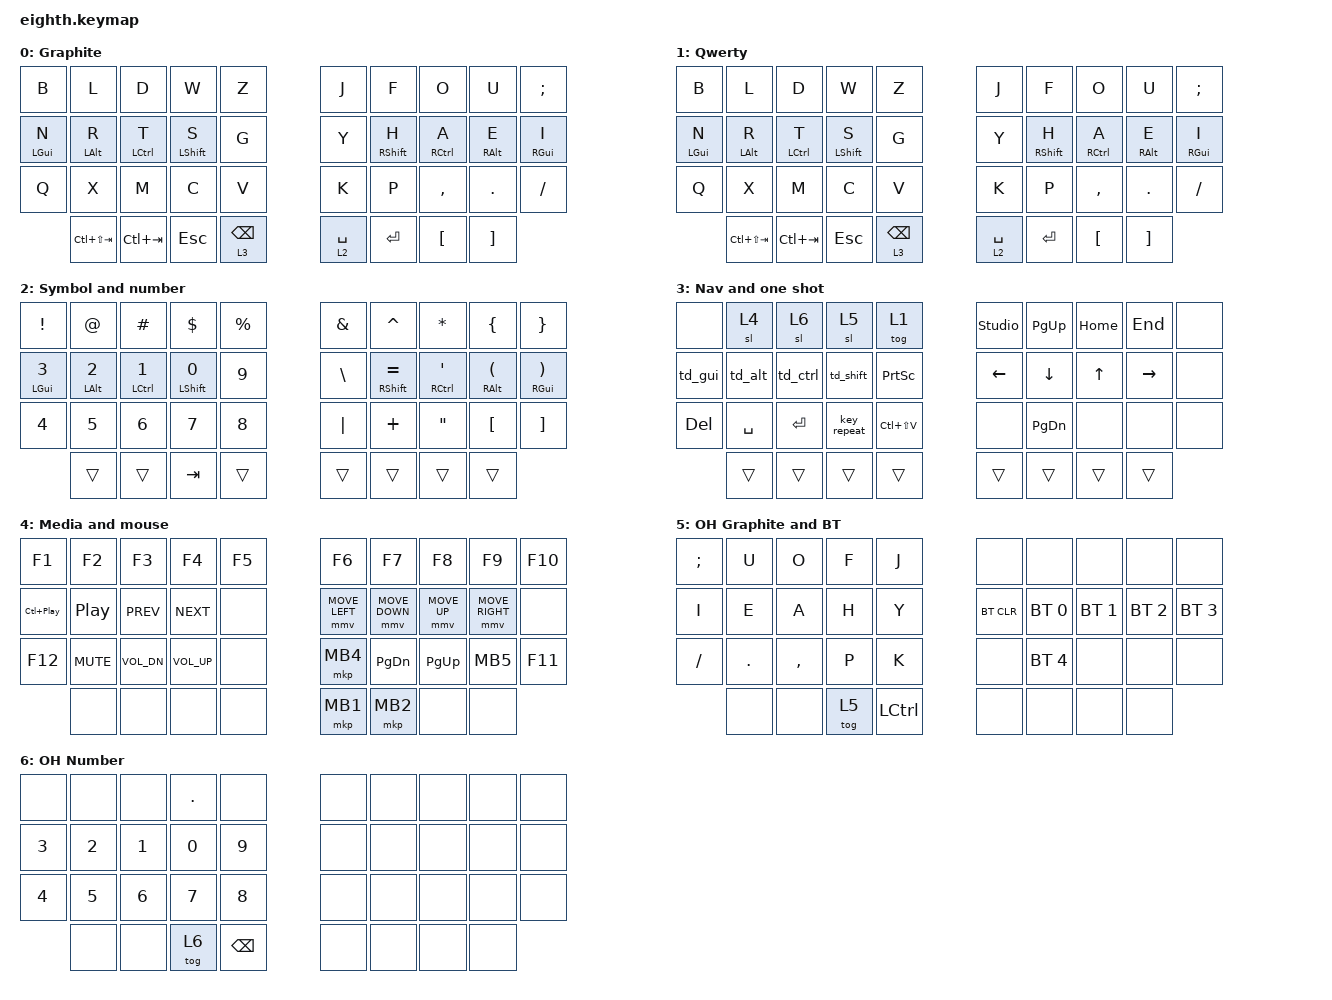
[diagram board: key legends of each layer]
#include <behaviors.dtsi>
#include <dt-bindings/zmk/keys.h>
#include <dt-bindings/zmk/bt.h>

// https://zmk.dev/docs/keymaps/behaviors/mouse-emulation
#define ZMK_POINTING_DEFAULT_MOVE_VAL 2400 //d 1200
#include <dt-bindings/zmk/pointing.h>

/ {
    macros {
        l_ram: l_ram {
            compatible = "zmk,behavior-macro";
            #binding-cells = <0>;
            bindings = <&macro_press &kp LALT>, <&macro_press &kp PSCRN>, <&macro_tap &kp F>, <&macro_release &kp PSCRN>, <&macro_release &kp PSCRN>;
        };
    };

    // 0  1  2  3  4       5  6  7  8  9
    // 10 11 12 13 14      15 16 17 18 19
    // 20 21 22 23 24      25 26 27 28 29
    //          30 31      32 33
    //    30 31 32 33      34 35 36 37
    combos {
        compatible = "zmk,combos";

        grave {
            timeout-ms = <50>;
            key-positions = <1 2>;
            bindings = <&kp GRAVE>;
            layers = <0>;
        };

        tilde {
            timeout-ms = <50>;
            key-positions = <21 22>;
            bindings = <&kp TILDE>;
            layers = <0>;
        };

        minus {
            timeout-ms = <50>;
            key-positions = <7 8>;
            bindings = <&kp MINUS>;
            layers = <0>;
        };

        under {
            timeout-ms = <50>;
            key-positions = <27 28>;
            bindings = <&kp UNDER>;
            layers = <0>;
        };

        caps_word {
            timeout-ms = <50>;
            key-positions = <13 16>;
            bindings = <&caps_word>;
            layers = <0>;
        };

        caps_lock {
            timeout-ms = <50>;
            key-positions = <3 6>;
            bindings = <&kp CAPS>;
            layers = <0>;
        };

        studio_unlock {
            timeout-ms = <50>;
            key-positions = <0 1>;
            bindings = <&studio_unlock>;
            layers = <4>;
        };

        l_ram {
            timeout-ms = <50>;
            key-positions = <7 8>;
            bindings = <&l_ram>;
            layers = <4>;
        };

        l4 {
            timeout-ms = <50>;
            key-positions = <33 34>;
            bindings = <&mo 4>;
            layers = <0>;
            slow-release;
        };
    };

    behaviors {
        hml: home_row_mod_left {
            compatible = "zmk,behavior-hold-tap";
            #binding-cells = <2>;
            flavor = "balanced";
            tapping-term-ms = <250>;
            quick-tap-ms = <175>;
            require-prior-idle-ms = <150>;
            bindings = <&kp>, <&kp>;
            hold-trigger-key-positions = <
                // right keys
                5  6  7  8  9
                15 16 17 18 19
                25 26 27 28 29
                34 35 36 37
            >;
            hold-trigger-on-release;
        };
        hmr: home_row_mod_right {
            compatible = "zmk,behavior-hold-tap";
            #binding-cells = <2>;
            flavor = "balanced";
            tapping-term-ms = <200>;
            quick-tap-ms = <175>;
            require-prior-idle-ms = <150>;
            bindings = <&kp>, <&kp>;
            hold-trigger-key-positions = <
                // left keys
                0  1  2  3  4
                10 11 12 13 14
                20 21 22 23 24
                30 31 32 33
            >;
            hold-trigger-on-release;
        };

        mt: mod_tap {
            compatible = "zmk,behavior-hold-tap";
            #binding-cells = <2>;
            flavor = "tap-preferred";
            tapping-term-ms = <200>;
            quick-tap-ms = <200>;
            bindings = <&kp>, <&kp>;
            display-name = "Mod-Tap";
        };
        lt: layer_tap {
            compatible = "zmk,behavior-hold-tap";
            #binding-cells = <2>;
            flavor = "tap-preferred";
            tapping-term-ms = <200>;
            quick-tap-ms = <250>;
            bindings = <&mo>, <&kp>;
            display-name = "Layer-Tap";
        };

        td_shift: tap_dance_shift {
            compatible = "zmk,behavior-tap-dance";
            #binding-cells = <0>;
            tapping-term-ms = <200>;
            bindings = <&sk LSHFT>, <&kp LSHFT>;
        };
        td_gui: tap_dance_gui {
            compatible = "zmk,behavior-tap-dance";
            #binding-cells = <0>;
            tapping-term-ms = <200>;
            bindings = <&sk LGUI>, <&kp LGUI>;
        };
        td_alt: tap_dance_alt {
            compatible = "zmk,behavior-tap-dance";
            #binding-cells = <0>;
            tapping-term-ms = <200>;
            bindings = <&sk LALT>, <&kp LALT>;
        };
        td_ctrl: tap_dance_ctrl {
            compatible = "zmk,behavior-tap-dance";
            #binding-cells = <0>;
            tapping-term-ms = <200>;
            bindings = <&sk LCTRL>, <&kp LCTRL>;
        };
    };

    keymap {
        compatible = "zmk,keymap";

        // 0
      /* &hml LGUI N   &hml LALT R       &hml LCTRL T   &hml LSHFT S   &kp G            &kp Y         &hmr RSHFT H   &hmr RCTRL A   &hmr RALT E   &hmr RGUI I */
        graphite {
            display-name = "Graphite"; // displayed in zmk studio
            bindings = <
//        ┌─────────────┬─────────────────┬─────────────┬─────────────┬───────────┐   ┌──────────┬─────────────┬─────────────┬─────────────┬─────────────┐
//        │      B      │        L        │      D      │      W      │     Z     │   │    J     │      F      │      O      │      U      │      ;      │
//        ├─────────────┼─────────────────┼─────────────┼─────────────┼───────────┤   ├──────────┼─────────────┼─────────────┼─────────────┼─────────────┤
//        │ &hml lgui N │   &hml lalt R   │ &hml lctl T │ &hml lsft S │     G     │   │    Y     │ &hmr rsft H │ &hmr rctl A │ &hmr ralt E │ &hmr rgui I │
//        ├─────────────┼─────────────────┼─────────────┼─────────────┼───────────┤   ├──────────┼─────────────┼─────────────┼─────────────┼─────────────┤
//        │      Q      │        X        │      M      │      C      │     V     │   │    K     │      P      │      ,      │      .      │      /      │
//        └─────────────┼─────────────────┼─────────────┼─────────────┼───────────┤   ├──────────┼─────────────┼─────────────┼─────────────┼─────────────┘
//                      │ lctl(lsft(tab)) │  lctl(tab)  │     esc     │ lt 3 bspc │   │ lt 2 spc │     ent     │      [      │      ]      │
//                      └─────────────────┴─────────────┴─────────────┴───────────┘   └──────────┴─────────────┴─────────────┴─────────────┘
      &kp B         &kp L             &kp D          &kp W          &kp Z            &kp J         &kp F          &kp O          &kp U         &kp SEMI
      &hml LGUI N   &hml LALT R       &hml LCTRL T   &hml LSHFT S   &kp G            &kp Y         &hmr RSHFT H   &hmr RCTRL A   &hmr RALT E   &hmr RGUI I
      &kp Q         &kp X             &kp M          &kp C          &kp V            &kp K         &kp P          &kp COMMA      &kp DOT       &kp FSLH
                    &kp LC(LS(TAB))   &kp LC(TAB)    &kp ESC        &lt 3 BSPC       &lt 2 SPACE   &kp ENTER      &kp LBKT       &kp RBKT
            >;
        };

        // 1
        qwerty {
            display-name = "Qwerty";
      /* &kp Q         &kp W         &kp E          &kp R          &kp T        &kp Y    &kp U          &kp I          &kp U         &kp P */
      /* &hml LGUI A   &hml LALT S   &hml LCTRL D   &hml LSHFT F   &kp G        &kp H    &hmr RSHFT J   &hmr RCTRL K   &hmr RALT L   &hmr RGUI SEMI */
      /* &kp Z         &kp X         &kp C          &kp V          &kp B        &kp N    &kp M          &kp COMMA      &kp DOT       &kp FSLH */
      /*               &trans        &trans         &trans         &trans       &trans   &trans         &trans         &trans */
            bindings = <
//        ┌───────────┬─────────────────┬───────────┬───────────┬───────────┐   ┌──────────┬───────────┬───────────┬───────────┬───────────┐
//        │     B     │        L        │     D     │     W     │     Z     │   │    J     │     F     │     O     │     U     │     ;     │
//        ├───────────┼─────────────────┼───────────┼───────────┼───────────┤   ├──────────┼───────────┼───────────┼───────────┼───────────┤
//        │ mt lgui N │    mt lalt R    │ mt lctl T │ mt lsft S │     G     │   │    Y     │ mt rsft H │ mt rctl A │ mt ralt E │ mt rgui I │
//        ├───────────┼─────────────────┼───────────┼───────────┼───────────┤   ├──────────┼───────────┼───────────┼───────────┼───────────┤
//        │     Q     │        X        │     M     │     C     │     V     │   │    K     │     P     │     ,     │     .     │     /     │
//        └───────────┼─────────────────┼───────────┼───────────┼───────────┤   ├──────────┼───────────┼───────────┼───────────┼───────────┘
//                    │ lctl(lsft(tab)) │ lctl(tab) │    esc    │ lt 3 bspc │   │ lt 2 spc │    ent    │     [     │     ]     │
//                    └─────────────────┴───────────┴───────────┴───────────┘   └──────────┴───────────┴───────────┴───────────┘
      &kp B        &kp L             &kp D         &kp W         &kp Z            &kp J         &kp F         &kp O         &kp U        &kp SEMI
      &mt LGUI N   &mt LALT R        &mt LCTRL T   &mt LSHFT S   &kp G            &kp Y         &mt RSHFT H   &mt RCTRL A   &mt RALT E   &mt RGUI I
      &kp Q        &kp X             &kp M         &kp C         &kp V            &kp K         &kp P         &kp COMMA     &kp DOT      &kp FSLH
                   &kp LC(LS(TAB))   &kp LC(TAB)   &kp ESC       &lt 3 BSPC       &lt 2 SPACE   &kp ENTER     &kp LBKT      &kp RBKT
            >;
        };

        // 2
        symbol {
            display-name = "Symbol and number";
            bindings = <
//        ┌───────────┬───────────┬───────────┬───────────┬─────┐   ┌─────┬───────────┬───────────┬───────────┬───────────┐
//        │     !     │     @     │     #     │     $     │  %  │   │  &  │     ^     │     *     │     {     │     }     │
//        ├───────────┼───────────┼───────────┼───────────┼─────┤   ├─────┼───────────┼───────────┼───────────┼───────────┤
//        │ mt lgui 3 │ mt lalt 2 │ mt lctl 1 │ mt lsft 0 │  9  │   │  \  │ mt rsft = │ mt rctl ' │ mt ralt ( │ mt rgui ) │
//        ├───────────┼───────────┼───────────┼───────────┼─────┤   ├─────┼───────────┼───────────┼───────────┼───────────┤
//        │     4     │     5     │     6     │     7     │  8  │   │  |  │     +     │     "     │     [     │     ]     │
//        └───────────┼───────────┼───────────┼───────────┼─────┤   ├─────┼───────────┼───────────┼───────────┼───────────┘
//                    │           │           │    tab    │     │   │     │           │           │           │
//                    └───────────┴───────────┴───────────┴─────┘   └─────┴───────────┴───────────┴───────────┘
      &kp EXCL      &kp AT        &kp HASH       &kp DLLR       &kp PRCNT       &kp AMPS   &kp CARET         &kp ASTRK       &kp LBRC        &kp RBRC
      &mt LGUI N3   &mt LALT N2   &mt LCTRL N1   &mt LSHFT N0   &kp N9          &kp BSLH   &mt RSHFT EQUAL   &mt RCTRL SQT   &mt RALT LPAR   &mt RGUI RPAR
      &kp N4        &kp N5        &kp N6         &kp N7         &kp N8          &kp PIPE   &kp PLUS          &kp DQT         &kp LBKT        &kp RBKT
                    &trans        &trans         &kp TAB        &trans          &trans     &trans            &trans          &trans
            >;
        };

        // 3
        nav {
            display-name = "Nav and one shot";
            bindings = <
//        ┌─────────┬─────────┬──────────┬───────────┬───────────────┐   ┌────────────────┬──────┬──────┬──────┬─────┐
//        │         │  sl 4   │   sl 6   │   sl 5    │     tog 1     │   │ &studio_unlock │ pgup │ home │ end  │     │
//        ├─────────┼─────────┼──────────┼───────────┼───────────────┤   ├────────────────┼──────┼──────┼──────┼─────┤
//        │ &td_gui │ &td_alt │ &td_ctrl │ &td_shift │     pscr      │   │      left      │ down │  up  │ rght │     │
//        ├─────────┼─────────┼──────────┼───────────┼───────────────┤   ├────────────────┼──────┼──────┼──────┼─────┤
//        │   del   │   spc   │   ent    │   keyr    │ lctl(lsft(V)) │   │                │ pgdn │      │      │     │
//        └─────────┼─────────┼──────────┼───────────┼───────────────┤   ├────────────────┼──────┼──────┼──────┼─────┘
//                  │         │          │           │               │   │                │      │      │      │
//                  └─────────┴──────────┴───────────┴───────────────┘   └────────────────┴──────┴──────┴──────┘
      &none     &sl 4       &sl 6       &sl 5         &tog 1              &studio_unlock   &kp PG_UP   &kp HOME   &kp END     &none
      &td_gui   &td_alt     &td_ctrl    &td_shift     &kp PSCRN           &kp LEFT         &kp DOWN    &kp UP     &kp RIGHT   &none
      &kp DEL   &kp SPACE   &kp ENTER   &key_repeat   &kp LC(LS(V))       &none            &kp PG_DN   &none      &none       &none
                &trans      &trans      &trans        &trans              &trans           &trans      &trans     &trans
            >;
        };

        // 4
        media {
            display-name = "Media and mouse";
            bindings = <
//        ┌────────────┬──────┬──────┬──────┬─────┐   ┌────────────────┬────────────────┬──────────────┬────────────────┬─────┐
//        │     f1     │  f2  │  f3  │  f4  │ f5  │   │       f6       │       f7       │      f8      │       f9       │ f10 │
//        ├────────────┼──────┼──────┼──────┼─────┤   ├────────────────┼────────────────┼──────────────┼────────────────┼─────┤
//        │ lctl(play) │ play │ prev │ next │     │   │ &mmv MOVE_left │ &mmv MOVE_down │ &mmv MOVE_up │ &mmv MOVE_rght │     │
//        ├────────────┼──────┼──────┼──────┼─────┤   ├────────────────┼────────────────┼──────────────┼────────────────┼─────┤
//        │    f12     │ mute │ vold │ volu │     │   │      mbck      │      pgdn      │     pgup     │      mfwd      │ f11 │
//        └────────────┼──────┼──────┼──────┼─────┤   ├────────────────┼────────────────┼──────────────┼────────────────┼─────┘
//                     │      │      │      │     │   │      lclk      │      rclk      │              │                │
//                     └──────┴──────┴──────┴─────┘   └────────────────┴────────────────┴──────────────┴────────────────┘
      &kp F1         &kp F2       &kp F3         &kp F4         &kp F5       &kp F6           &kp F7           &kp F8         &kp F9            &kp F10
      &kp LC(C_PP)   &kp C_PP     &kp C_PREV     &kp C_NEXT     &none        &mmv MOVE_LEFT   &mmv MOVE_DOWN   &mmv MOVE_UP   &mmv MOVE_RIGHT   &none
      &kp F12        &kp C_MUTE   &kp C_VOL_DN   &kp C_VOL_UP   &none        &mkp MB4         &kp PG_DN        &kp PG_UP      &kp MB5           &kp F11
                     &none        &none          &none          &none        &mkp MB1         &mkp MB2         &none          &none
            >;
        };

        // 5
        /* https://zmk.dev/docs/keymaps/behaviors/bluetooth */
        oh_graphite {
            display-name = "OH Graphite and BT";
            bindings =<
//        ┌───┬─────┬─────┬───────┬──────┐   ┌────────┬──────────┬──────────┬──────────┬──────────┐
//        │ ; │  U  │  O  │   F   │  J   │   │        │          │          │          │          │
//        ├───┼─────┼─────┼───────┼──────┤   ├────────┼──────────┼──────────┼──────────┼──────────┤
//        │ I │  E  │  A  │   H   │  Y   │   │ bt_clr │ bt_sel 0 │ bt_sel 1 │ bt_sel 2 │ bt_sel 3 │
//        ├───┼─────┼─────┼───────┼──────┤   ├────────┼──────────┼──────────┼──────────┼──────────┤
//        │ / │  .  │  ,  │   P   │  K   │   │        │ bt_sel 4 │          │          │          │
//        └───┼─────┼─────┼───────┼──────┤   ├────────┼──────────┼──────────┼──────────┼──────────┘
//            │     │     │ tog 5 │ lctl │   │        │          │          │          │
//            └─────┴─────┴───────┴──────┘   └────────┴──────────┴──────────┴──────────┘
      &kp SEMI   &kp U     &kp O       &kp F    &kp J           &none        &none          &none          &none          &none
      &kp I      &kp E     &kp A       &kp H    &kp Y           &bt BT_CLR   &bt BT_SEL 0   &bt BT_SEL 1   &bt BT_SEL 2   &bt BT_SEL 3
      &kp FSLH   &kp DOT   &kp COMMA   &kp P    &kp K           &none        &bt BT_SEL 4   &none          &none          &none
                 &none     &none       &tog 5   &kp LCTRL       &none        &none          &none          &none
            >;
        };

        // 6
        oh_num {
            display-name = "OH Number";
            bindings =<
//        ┌─────┬─────┬─────┬───────┬──────┐   ┌─────┬─────┬─────┬─────┬─────┐
//        │     │     │     │   .   │      │   │     │     │     │     │     │
//        ├─────┼─────┼─────┼───────┼──────┤   ├─────┼─────┼─────┼─────┼─────┤
//        │  3  │  2  │  1  │   0   │  9   │   │     │     │     │     │     │
//        ├─────┼─────┼─────┼───────┼──────┤   ├─────┼─────┼─────┼─────┼─────┤
//        │  4  │  5  │  6  │   7   │  8   │   │     │     │     │     │     │
//        └─────┼─────┼─────┼───────┼──────┤   ├─────┼─────┼─────┼─────┼─────┘
//              │     │     │ tog 6 │ bspc │   │     │     │     │     │
//              └─────┴─────┴───────┴──────┘   └─────┴─────┴─────┴─────┘
      &none    &none    &none    &kp DOT   &none          &none   &none   &none   &none   &none
      &kp N3   &kp N2   &kp N1   &kp N0    &kp N9         &none   &none   &none   &none   &none
      &kp N4   &kp N5   &kp N6   &kp N7    &kp N8         &none   &none   &none   &none   &none
               &none    &none    &tog 6    &kp BSPC       &none   &none   &none   &none
            >;
        };
        // for studio
        extra {
            status = "reserved";
        };
        extra2 {
            status = "reserved";
        };

    };
};
